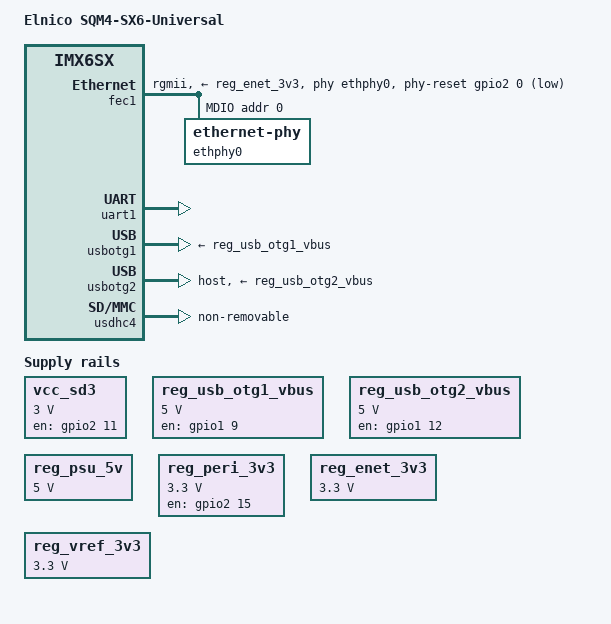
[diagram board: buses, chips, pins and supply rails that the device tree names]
/*
 * Copyright (C) 2014 Freescale Semiconductor, Inc.
 *
 * This program is free software; you can redistribute it and/or modify
 * it under the terms of the GNU General Public License version 2 as
 * published by the Free Software Foundation.
 */

#include "sqm4sx6.dtsi"

/ {
	model = "Elnico SQM4-SX6-Universal";
	compatible = "eln,sqm4sx6-uni", "eln,sqm4sx6", "fsl,imx6sx";

	chosen {
		stdout-path = &uart1;
	};

	regulators {
		compatible = "simple-bus";
		#address-cells = <1>;
		#size-cells = <0>;

		vcc_sd3: regulator@0 {
			compatible = "regulator-fixed";
			reg = <0>;
			pinctrl-names = "default";
			pinctrl-0 = <&pinctrl_vcc_sd3>;
			regulator-name = "VCC_SD3";
			regulator-min-microvolt = <3000000>;
			regulator-max-microvolt = <3000000>;
			gpio = <&gpio2 11 GPIO_ACTIVE_HIGH>;
			enable-active-high;
		};

		reg_usb_otg1_vbus: regulator@1 {
			compatible = "regulator-fixed";
			reg = <1>;
			pinctrl-names = "default";
			pinctrl-0 = <&pinctrl_usb_otg1>;
			regulator-name = "usb_otg1_vbus";
			regulator-min-microvolt = <5000000>;
			regulator-max-microvolt = <5000000>;
			gpio = <&gpio1 9 GPIO_ACTIVE_HIGH>;
			enable-active-high;
		};

		reg_usb_otg2_vbus: regulator@2 {
			compatible = "regulator-fixed";
			reg = <2>;
			pinctrl-names = "default";
			pinctrl-0 = <&pinctrl_usb_otg2>;
			regulator-name = "usb_otg2_vbus";
			regulator-min-microvolt = <5000000>;
			regulator-max-microvolt = <5000000>;
			gpio = <&gpio1 12 GPIO_ACTIVE_HIGH>;
			enable-active-high;
		};

		reg_psu_5v: regulator@3 {
			compatible = "regulator-fixed";
			reg = <3>;
			regulator-name = "PSU-5V0";
			regulator-min-microvolt = <5000000>;
			regulator-max-microvolt = <5000000>;
		};

		reg_peri_3v3: regulator@5 {
			compatible = "regulator-fixed";
			reg = <5>;
			pinctrl-names = "default";
			pinctrl-0 = <&pinctrl_peri_3v3>;
			regulator-name = "peri_3v3";
			regulator-min-microvolt = <3300000>;
			regulator-max-microvolt = <3300000>;
			gpios = <&gpio2 15 GPIO_ACTIVE_HIGH>;
			enable-active-high;
			regulator-always-on;
		};

		reg_enet_3v3: regulator@6 {
			compatible = "regulator-fixed";
			reg = <6>;
			regulator-name = "enet_3v3";
			regulator-min-microvolt = <3300000>;
			regulator-max-microvolt = <3300000>;
		};

		reg_vref_3v3: regulator@7 {
			compatible = "regulator-fixed";
			reg = <7>;
			regulator-name = "vref-3v3";
			regulator-min-microvolt = <3300000>;
			regulator-max-microvolt = <3300000>;
		};
	};
};

&gpc {
	fsl,ldo-bypass = <1>;
};

&fec1 {
	pinctrl-names = "default";
	pinctrl-0 = <&pinctrl_enet1>;
	phy-supply = <&reg_enet_3v3>;
	phy-mode = "rgmii";
	phy-handle = <&ethphy0>;
	phy-reset-gpios = <&gpio2 0 GPIO_ACTIVE_LOW>;
	status = "okay";

	mdio {
		#address-cells = <1>;
		#size-cells = <0>;

		ethphy0: ethernet-phy@0 {
			reg = <0>;
		};
	};
};

&snvs_poweroff {
	status = "okay";
};

&uart1 {
	pinctrl-names = "default";
	pinctrl-0 = <&pinctrl_uart1>;
	status = "okay";
};

&usbotg1 {
	vbus-supply = <&reg_usb_otg1_vbus>;
	pinctrl-names = "default";
	pinctrl-0 = <&pinctrl_usb_otg1_id>;
	srp-disable;
	hnp-disable;
	adp-disable;
	status = "okay";
};

&usbotg2 {
	vbus-supply = <&reg_usb_otg2_vbus>;
	dr_mode = "host";
	status = "okay";
};

&usbphy1 {
	tx-d-cal = <0x5>;	// Signal quality calibration
};

&usbphy2 {
	tx-d-cal = <0x5>;	// Signal quality calibration
};

&usdhc4 {
	pinctrl-names = "default";
	pinctrl-0 = <&pinctrl_usdhc4_4>;
	/* cd-gpios = <&gpio6 21 GPIO_ACTIVE_LOW>; */
	non-removable;
	status = "okay";
};
